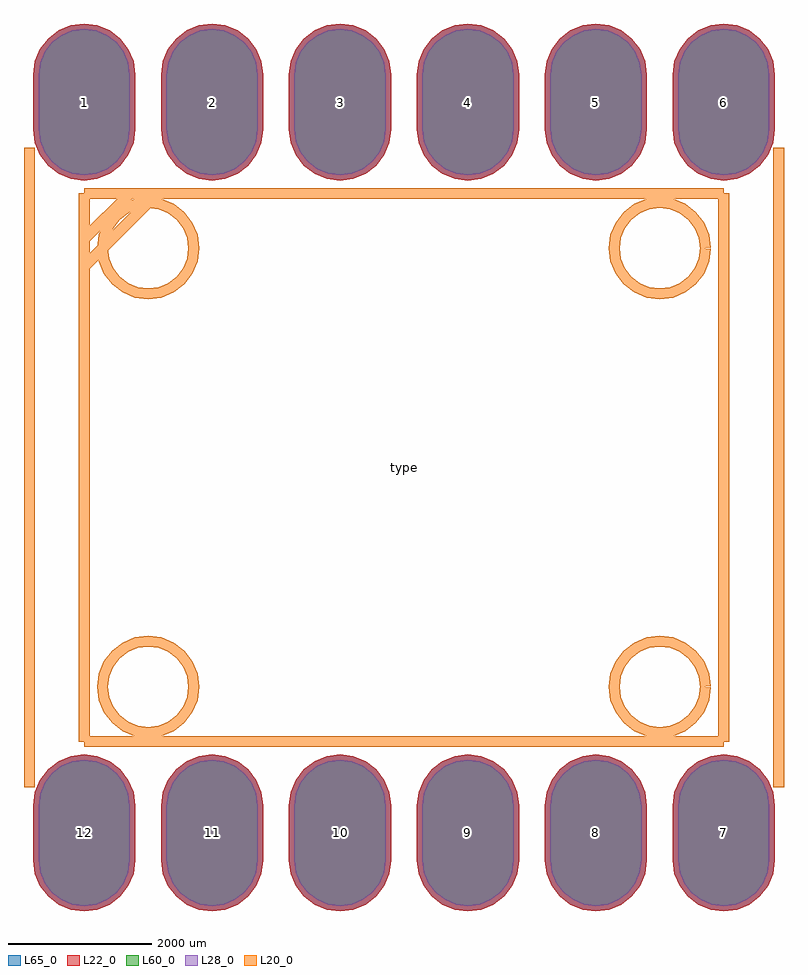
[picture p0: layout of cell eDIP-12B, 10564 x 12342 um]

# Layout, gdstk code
import gdstk
lib = gdstk.Library(unit=1e-6, precision=1e-09)
def P(c, l, *ps):  # polygons
    for p in ps: c.add(gdstk.Polygon(p, *l))
L20_0 = (20, 0)
L22_0 = (22, 0)
L28_0 = (28, 0)
L60_0 = (60, 0)
L65_0 = (65, 0)

edip_12b = lib.new_cell('eDIP-12B')
P(edip_12b, L22_0, [(-4445,-6171),(-4261.238,-6146.807),(-4090,-6075.878),(-3942.954,-5963.046),(-3830.122,-5816),(-3759.193,-5644.762),(-3735,-5461),(-3735,-4699),(-3759.193,-4515.238),(-3830.122,-4344),(-3942.954,-4196.954),(-4090,-4084.122),(-4261.238,-4013.193),(-4445,-3989),(-4628.762,-4013.193),(-4800,-4084.122),(-4947.046,-4196.954),(-5059.878,-4344),(-5130.807,-4515.238),(-5155,-4699),(-5155,-5461),(-5130.807,-5644.762),(-5059.878,-5816),(-4947.046,-5963.046),(-4800,-6075.878),(-4628.762,-6146.807)],
  [(-2667,-6171),(-2483.238,-6146.807),(-2312,-6075.878),(-2164.954,-5963.046),(-2052.122,-5816),(-1981.193,-5644.762),(-1957,-5461),(-1957,-4699),(-1981.193,-4515.238),(-2052.122,-4344),(-2164.954,-4196.954),(-2312,-4084.122),(-2483.238,-4013.193),(-2667,-3989),(-2850.762,-4013.193),(-3022,-4084.122),(-3169.046,-4196.954),(-3281.878,-4344),(-3352.807,-4515.238),(-3377,-4699),(-3377,-5461),(-3352.807,-5644.762),(-3281.878,-5816),(-3169.046,-5963.046),(-3022,-6075.878),(-2850.762,-6146.807)],
  [(-889,-6171),(-705.238,-6146.807),(-534,-6075.878),(-386.954,-5963.046),(-274.122,-5816),(-203.193,-5644.762),(-179,-5461),(-179,-4699),(-203.193,-4515.238),(-274.122,-4344),(-386.954,-4196.954),(-534,-4084.122),(-705.238,-4013.193),(-889,-3989),(-1072.762,-4013.193),(-1244,-4084.122),(-1391.046,-4196.954),(-1503.878,-4344),(-1574.807,-4515.238),(-1599,-4699),(-1599,-5461),(-1574.807,-5644.762),(-1503.878,-5816),(-1391.046,-5963.046),(-1244,-6075.878),(-1072.762,-6146.807)],
  [(889,-6171),(1072.762,-6146.807),(1244,-6075.878),(1391.046,-5963.046),(1503.878,-5816),(1574.807,-5644.762),(1599,-5461),(1599,-4699),(1574.807,-4515.238),(1503.878,-4344),(1391.046,-4196.954),(1244,-4084.122),(1072.762,-4013.193),(889,-3989),(705.238,-4013.193),(534,-4084.122),(386.954,-4196.954),(274.122,-4344),(203.193,-4515.238),(179,-4699),(179,-5461),(203.193,-5644.762),(274.122,-5816),(386.954,-5963.046),(534,-6075.878),(705.238,-6146.807)],
  [(2667,-6171),(2850.762,-6146.807),(3022,-6075.878),(3169.046,-5963.046),(3281.878,-5816),(3352.807,-5644.762),(3377,-5461),(3377,-4699),(3352.807,-4515.238),(3281.878,-4344),(3169.046,-4196.954),(3022,-4084.122),(2850.762,-4013.193),(2667,-3989),(2483.238,-4013.193),(2312,-4084.122),(2164.954,-4196.954),(2052.122,-4344),(1981.193,-4515.238),(1957,-4699),(1957,-5461),(1981.193,-5644.762),(2052.122,-5816),(2164.954,-5963.046),(2312,-6075.878),(2483.238,-6146.807)],
  [(4445,-6171),(4628.762,-6146.807),(4800,-6075.878),(4947.046,-5963.046),(5059.878,-5816),(5130.807,-5644.762),(5155,-5461),(5155,-4699),(5130.807,-4515.238),(5059.878,-4344),(4947.046,-4196.954),(4800,-4084.122),(4628.762,-4013.193),(4445,-3989),(4261.238,-4013.193),(4090,-4084.122),(3942.954,-4196.954),(3830.122,-4344),(3759.193,-4515.238),(3735,-4699),(3735,-5461),(3759.193,-5644.762),(3830.122,-5816),(3942.954,-5963.046),(4090,-6075.878),(4261.238,-6146.807)],
  [(4445,3989),(4628.762,4013.193),(4800,4084.122),(4947.046,4196.954),(5059.878,4344),(5130.807,4515.238),(5155,4699),(5155,5461),(5130.807,5644.762),(5059.878,5816),(4947.046,5963.046),(4800,6075.878),(4628.762,6146.807),(4445,6171),(4261.238,6146.807),(4090,6075.878),(3942.954,5963.046),(3830.122,5816),(3759.193,5644.762),(3735,5461),(3735,4699),(3759.193,4515.238),(3830.122,4344),(3942.954,4196.954),(4090,4084.122),(4261.238,4013.193)],
  [(2667,3989),(2850.762,4013.193),(3022,4084.122),(3169.046,4196.954),(3281.878,4344),(3352.807,4515.238),(3377,4699),(3377,5461),(3352.807,5644.762),(3281.878,5816),(3169.046,5963.046),(3022,6075.878),(2850.762,6146.807),(2667,6171),(2483.238,6146.807),(2312,6075.878),(2164.954,5963.046),(2052.122,5816),(1981.193,5644.762),(1957,5461),(1957,4699),(1981.193,4515.238),(2052.122,4344),(2164.954,4196.954),(2312,4084.122),(2483.238,4013.193)],
  [(889,3989),(1072.762,4013.193),(1244,4084.122),(1391.046,4196.954),(1503.878,4344),(1574.807,4515.238),(1599,4699),(1599,5461),(1574.807,5644.762),(1503.878,5816),(1391.046,5963.046),(1244,6075.878),(1072.762,6146.807),(889,6171),(705.238,6146.807),(534,6075.878),(386.954,5963.046),(274.122,5816),(203.193,5644.762),(179,5461),(179,4699),(203.193,4515.238),(274.122,4344),(386.954,4196.954),(534,4084.122),(705.238,4013.193)],
  [(-889,3989),(-705.238,4013.193),(-534,4084.122),(-386.954,4196.954),(-274.122,4344),(-203.193,4515.238),(-179,4699),(-179,5461),(-203.193,5644.762),(-274.122,5816),(-386.954,5963.046),(-534,6075.878),(-705.238,6146.807),(-889,6171),(-1072.762,6146.807),(-1244,6075.878),(-1391.046,5963.046),(-1503.878,5816),(-1574.807,5644.762),(-1599,5461),(-1599,4699),(-1574.807,4515.238),(-1503.878,4344),(-1391.046,4196.954),(-1244,4084.122),(-1072.762,4013.193)],
  [(-2667,3989),(-2483.238,4013.193),(-2312,4084.122),(-2164.954,4196.954),(-2052.122,4344),(-1981.193,4515.238),(-1957,4699),(-1957,5461),(-1981.193,5644.762),(-2052.122,5816),(-2164.954,5963.046),(-2312,6075.878),(-2483.238,6146.807),(-2667,6171),(-2850.762,6146.807),(-3022,6075.878),(-3169.046,5963.046),(-3281.878,5816),(-3352.807,5644.762),(-3377,5461),(-3377,4699),(-3352.807,4515.238),(-3281.878,4344),(-3169.046,4196.954),(-3022,4084.122),(-2850.762,4013.193)],
  [(-4445,3989),(-4261.238,4013.193),(-4090,4084.122),(-3942.954,4196.954),(-3830.122,4344),(-3759.193,4515.238),(-3735,4699),(-3735,5461),(-3759.193,5644.762),(-3830.122,5816),(-3942.954,5963.046),(-4090,6075.878),(-4261.238,6146.807),(-4445,6171),(-4628.762,6146.807),(-4800,6075.878),(-4947.046,5963.046),(-5059.878,5816),(-5130.807,5644.762),(-5155,5461),(-5155,4699),(-5130.807,4515.238),(-5059.878,4344),(-4947.046,4196.954),(-4800,4084.122),(-4628.762,4013.193)])
P(edip_12b, L28_0, [(-4445,-6096),(-4280.65,-6074.363),(-4127.5,-6010.926),(-3995.987,-5910.013),(-3895.074,-5778.5),(-3831.637,-5625.35),(-3810,-5461),(-3810,-4699),(-3831.637,-4534.65),(-3895.074,-4381.5),(-3995.987,-4249.987),(-4127.5,-4149.074),(-4280.65,-4085.637),(-4445,-4064),(-4609.35,-4085.637),(-4762.5,-4149.074),(-4894.013,-4249.987),(-4994.926,-4381.5),(-5058.363,-4534.65),(-5080,-4699),(-5080,-5461),(-5058.363,-5625.35),(-4994.926,-5778.5),(-4894.013,-5910.013),(-4762.5,-6010.926),(-4609.35,-6074.363)],
  [(-2667,-6096),(-2502.65,-6074.363),(-2349.5,-6010.926),(-2217.987,-5910.013),(-2117.074,-5778.5),(-2053.637,-5625.35),(-2032,-5461),(-2032,-4699),(-2053.637,-4534.65),(-2117.074,-4381.5),(-2217.987,-4249.987),(-2349.5,-4149.074),(-2502.65,-4085.637),(-2667,-4064),(-2831.35,-4085.637),(-2984.5,-4149.074),(-3116.013,-4249.987),(-3216.926,-4381.5),(-3280.363,-4534.65),(-3302,-4699),(-3302,-5461),(-3280.363,-5625.35),(-3216.926,-5778.5),(-3116.013,-5910.013),(-2984.5,-6010.926),(-2831.35,-6074.363)],
  [(-889,-6096),(-724.65,-6074.363),(-571.5,-6010.926),(-439.987,-5910.013),(-339.074,-5778.5),(-275.637,-5625.35),(-254,-5461),(-254,-4699),(-275.637,-4534.65),(-339.074,-4381.5),(-439.987,-4249.987),(-571.5,-4149.074),(-724.65,-4085.637),(-889,-4064),(-1053.35,-4085.637),(-1206.5,-4149.074),(-1338.013,-4249.987),(-1438.926,-4381.5),(-1502.363,-4534.65),(-1524,-4699),(-1524,-5461),(-1502.363,-5625.35),(-1438.926,-5778.5),(-1338.013,-5910.013),(-1206.5,-6010.926),(-1053.35,-6074.363)],
  [(889,-6096),(1053.35,-6074.363),(1206.5,-6010.926),(1338.013,-5910.013),(1438.926,-5778.5),(1502.363,-5625.35),(1524,-5461),(1524,-4699),(1502.363,-4534.65),(1438.926,-4381.5),(1338.013,-4249.987),(1206.5,-4149.074),(1053.35,-4085.637),(889,-4064),(724.65,-4085.637),(571.5,-4149.074),(439.987,-4249.987),(339.074,-4381.5),(275.637,-4534.65),(254,-4699),(254,-5461),(275.637,-5625.35),(339.074,-5778.5),(439.987,-5910.013),(571.5,-6010.926),(724.65,-6074.363)],
  [(2667,-6096),(2831.35,-6074.363),(2984.5,-6010.926),(3116.013,-5910.013),(3216.926,-5778.5),(3280.363,-5625.35),(3302,-5461),(3302,-4699),(3280.363,-4534.65),(3216.926,-4381.5),(3116.013,-4249.987),(2984.5,-4149.074),(2831.35,-4085.637),(2667,-4064),(2502.65,-4085.637),(2349.5,-4149.074),(2217.987,-4249.987),(2117.074,-4381.5),(2053.637,-4534.65),(2032,-4699),(2032,-5461),(2053.637,-5625.35),(2117.074,-5778.5),(2217.987,-5910.013),(2349.5,-6010.926),(2502.65,-6074.363)],
  [(4445,-6096),(4609.35,-6074.363),(4762.5,-6010.926),(4894.013,-5910.013),(4994.926,-5778.5),(5058.363,-5625.35),(5080,-5461),(5080,-4699),(5058.363,-4534.65),(4994.926,-4381.5),(4894.013,-4249.987),(4762.5,-4149.074),(4609.35,-4085.637),(4445,-4064),(4280.65,-4085.637),(4127.5,-4149.074),(3995.987,-4249.987),(3895.074,-4381.5),(3831.637,-4534.65),(3810,-4699),(3810,-5461),(3831.637,-5625.35),(3895.074,-5778.5),(3995.987,-5910.013),(4127.5,-6010.926),(4280.65,-6074.363)],
  [(4445,4064),(4609.35,4085.637),(4762.5,4149.074),(4894.013,4249.987),(4994.926,4381.5),(5058.363,4534.65),(5080,4699),(5080,5461),(5058.363,5625.35),(4994.926,5778.5),(4894.013,5910.013),(4762.5,6010.926),(4609.35,6074.363),(4445,6096),(4280.65,6074.363),(4127.5,6010.926),(3995.987,5910.013),(3895.074,5778.5),(3831.637,5625.35),(3810,5461),(3810,4699),(3831.637,4534.65),(3895.074,4381.5),(3995.987,4249.987),(4127.5,4149.074),(4280.65,4085.637)],
  [(2667,4064),(2831.35,4085.637),(2984.5,4149.074),(3116.013,4249.987),(3216.926,4381.5),(3280.363,4534.65),(3302,4699),(3302,5461),(3280.363,5625.35),(3216.926,5778.5),(3116.013,5910.013),(2984.5,6010.926),(2831.35,6074.363),(2667,6096),(2502.65,6074.363),(2349.5,6010.926),(2217.987,5910.013),(2117.074,5778.5),(2053.637,5625.35),(2032,5461),(2032,4699),(2053.637,4534.65),(2117.074,4381.5),(2217.987,4249.987),(2349.5,4149.074),(2502.65,4085.637)],
  [(889,4064),(1053.35,4085.637),(1206.5,4149.074),(1338.013,4249.987),(1438.926,4381.5),(1502.363,4534.65),(1524,4699),(1524,5461),(1502.363,5625.35),(1438.926,5778.5),(1338.013,5910.013),(1206.5,6010.926),(1053.35,6074.363),(889,6096),(724.65,6074.363),(571.5,6010.926),(439.987,5910.013),(339.074,5778.5),(275.637,5625.35),(254,5461),(254,4699),(275.637,4534.65),(339.074,4381.5),(439.987,4249.987),(571.5,4149.074),(724.65,4085.637)],
  [(-889,4064),(-724.65,4085.637),(-571.5,4149.074),(-439.987,4249.987),(-339.074,4381.5),(-275.637,4534.65),(-254,4699),(-254,5461),(-275.637,5625.35),(-339.074,5778.5),(-439.987,5910.013),(-571.5,6010.926),(-724.65,6074.363),(-889,6096),(-1053.35,6074.363),(-1206.5,6010.926),(-1338.013,5910.013),(-1438.926,5778.5),(-1502.363,5625.35),(-1524,5461),(-1524,4699),(-1502.363,4534.65),(-1438.926,4381.5),(-1338.013,4249.987),(-1206.5,4149.074),(-1053.35,4085.637)],
  [(-2667,4064),(-2502.65,4085.637),(-2349.5,4149.074),(-2217.987,4249.987),(-2117.074,4381.5),(-2053.637,4534.65),(-2032,4699),(-2032,5461),(-2053.637,5625.35),(-2117.074,5778.5),(-2217.987,5910.013),(-2349.5,6010.926),(-2502.65,6074.363),(-2667,6096),(-2831.35,6074.363),(-2984.5,6010.926),(-3116.013,5910.013),(-3216.926,5778.5),(-3280.363,5625.35),(-3302,5461),(-3302,4699),(-3280.363,4534.65),(-3216.926,4381.5),(-3116.013,4249.987),(-2984.5,4149.074),(-2831.35,4085.637)],
  [(-4445,4064),(-4280.65,4085.637),(-4127.5,4149.074),(-3995.987,4249.987),(-3895.074,4381.5),(-3831.637,4534.65),(-3810,4699),(-3810,5461),(-3831.637,5625.35),(-3895.074,5778.5),(-3995.987,5910.013),(-4127.5,6010.926),(-4280.65,6074.363),(-4445,6096),(-4609.35,6074.363),(-4762.5,6010.926),(-4894.013,5910.013),(-4994.926,5778.5),(-5058.363,5625.35),(-5080,5461),(-5080,4699),(-5058.363,4534.65),(-4994.926,4381.5),(-4894.013,4249.987),(-4762.5,4149.074),(-4609.35,4085.637)])
P(edip_12b, L60_0, [(-4445,-6096),(-4280.65,-6074.363),(-4127.5,-6010.926),(-3995.987,-5910.013),(-3895.074,-5778.5),(-3831.637,-5625.35),(-3810,-5461),(-3810,-4699),(-3831.637,-4534.65),(-3895.074,-4381.5),(-3995.987,-4249.987),(-4127.5,-4149.074),(-4280.65,-4085.637),(-4445,-4064),(-4609.35,-4085.637),(-4762.5,-4149.074),(-4894.013,-4249.987),(-4994.926,-4381.5),(-5058.363,-4534.65),(-5080,-4699),(-5080,-5461),(-5058.363,-5625.35),(-4994.926,-5778.5),(-4894.013,-5910.013),(-4762.5,-6010.926),(-4609.35,-6074.363)],
  [(-2667,-6096),(-2502.65,-6074.363),(-2349.5,-6010.926),(-2217.987,-5910.013),(-2117.074,-5778.5),(-2053.637,-5625.35),(-2032,-5461),(-2032,-4699),(-2053.637,-4534.65),(-2117.074,-4381.5),(-2217.987,-4249.987),(-2349.5,-4149.074),(-2502.65,-4085.637),(-2667,-4064),(-2831.35,-4085.637),(-2984.5,-4149.074),(-3116.013,-4249.987),(-3216.926,-4381.5),(-3280.363,-4534.65),(-3302,-4699),(-3302,-5461),(-3280.363,-5625.35),(-3216.926,-5778.5),(-3116.013,-5910.013),(-2984.5,-6010.926),(-2831.35,-6074.363)],
  [(-889,-6096),(-724.65,-6074.363),(-571.5,-6010.926),(-439.987,-5910.013),(-339.074,-5778.5),(-275.637,-5625.35),(-254,-5461),(-254,-4699),(-275.637,-4534.65),(-339.074,-4381.5),(-439.987,-4249.987),(-571.5,-4149.074),(-724.65,-4085.637),(-889,-4064),(-1053.35,-4085.637),(-1206.5,-4149.074),(-1338.013,-4249.987),(-1438.926,-4381.5),(-1502.363,-4534.65),(-1524,-4699),(-1524,-5461),(-1502.363,-5625.35),(-1438.926,-5778.5),(-1338.013,-5910.013),(-1206.5,-6010.926),(-1053.35,-6074.363)],
  [(889,-6096),(1053.35,-6074.363),(1206.5,-6010.926),(1338.013,-5910.013),(1438.926,-5778.5),(1502.363,-5625.35),(1524,-5461),(1524,-4699),(1502.363,-4534.65),(1438.926,-4381.5),(1338.013,-4249.987),(1206.5,-4149.074),(1053.35,-4085.637),(889,-4064),(724.65,-4085.637),(571.5,-4149.074),(439.987,-4249.987),(339.074,-4381.5),(275.637,-4534.65),(254,-4699),(254,-5461),(275.637,-5625.35),(339.074,-5778.5),(439.987,-5910.013),(571.5,-6010.926),(724.65,-6074.363)],
  [(2667,-6096),(2831.35,-6074.363),(2984.5,-6010.926),(3116.013,-5910.013),(3216.926,-5778.5),(3280.363,-5625.35),(3302,-5461),(3302,-4699),(3280.363,-4534.65),(3216.926,-4381.5),(3116.013,-4249.987),(2984.5,-4149.074),(2831.35,-4085.637),(2667,-4064),(2502.65,-4085.637),(2349.5,-4149.074),(2217.987,-4249.987),(2117.074,-4381.5),(2053.637,-4534.65),(2032,-4699),(2032,-5461),(2053.637,-5625.35),(2117.074,-5778.5),(2217.987,-5910.013),(2349.5,-6010.926),(2502.65,-6074.363)],
  [(4445,-6096),(4609.35,-6074.363),(4762.5,-6010.926),(4894.013,-5910.013),(4994.926,-5778.5),(5058.363,-5625.35),(5080,-5461),(5080,-4699),(5058.363,-4534.65),(4994.926,-4381.5),(4894.013,-4249.987),(4762.5,-4149.074),(4609.35,-4085.637),(4445,-4064),(4280.65,-4085.637),(4127.5,-4149.074),(3995.987,-4249.987),(3895.074,-4381.5),(3831.637,-4534.65),(3810,-4699),(3810,-5461),(3831.637,-5625.35),(3895.074,-5778.5),(3995.987,-5910.013),(4127.5,-6010.926),(4280.65,-6074.363)],
  [(4445,4064),(4609.35,4085.637),(4762.5,4149.074),(4894.013,4249.987),(4994.926,4381.5),(5058.363,4534.65),(5080,4699),(5080,5461),(5058.363,5625.35),(4994.926,5778.5),(4894.013,5910.013),(4762.5,6010.926),(4609.35,6074.363),(4445,6096),(4280.65,6074.363),(4127.5,6010.926),(3995.987,5910.013),(3895.074,5778.5),(3831.637,5625.35),(3810,5461),(3810,4699),(3831.637,4534.65),(3895.074,4381.5),(3995.987,4249.987),(4127.5,4149.074),(4280.65,4085.637)],
  [(2667,4064),(2831.35,4085.637),(2984.5,4149.074),(3116.013,4249.987),(3216.926,4381.5),(3280.363,4534.65),(3302,4699),(3302,5461),(3280.363,5625.35),(3216.926,5778.5),(3116.013,5910.013),(2984.5,6010.926),(2831.35,6074.363),(2667,6096),(2502.65,6074.363),(2349.5,6010.926),(2217.987,5910.013),(2117.074,5778.5),(2053.637,5625.35),(2032,5461),(2032,4699),(2053.637,4534.65),(2117.074,4381.5),(2217.987,4249.987),(2349.5,4149.074),(2502.65,4085.637)],
  [(889,4064),(1053.35,4085.637),(1206.5,4149.074),(1338.013,4249.987),(1438.926,4381.5),(1502.363,4534.65),(1524,4699),(1524,5461),(1502.363,5625.35),(1438.926,5778.5),(1338.013,5910.013),(1206.5,6010.926),(1053.35,6074.363),(889,6096),(724.65,6074.363),(571.5,6010.926),(439.987,5910.013),(339.074,5778.5),(275.637,5625.35),(254,5461),(254,4699),(275.637,4534.65),(339.074,4381.5),(439.987,4249.987),(571.5,4149.074),(724.65,4085.637)],
  [(-889,4064),(-724.65,4085.637),(-571.5,4149.074),(-439.987,4249.987),(-339.074,4381.5),(-275.637,4534.65),(-254,4699),(-254,5461),(-275.637,5625.35),(-339.074,5778.5),(-439.987,5910.013),(-571.5,6010.926),(-724.65,6074.363),(-889,6096),(-1053.35,6074.363),(-1206.5,6010.926),(-1338.013,5910.013),(-1438.926,5778.5),(-1502.363,5625.35),(-1524,5461),(-1524,4699),(-1502.363,4534.65),(-1438.926,4381.5),(-1338.013,4249.987),(-1206.5,4149.074),(-1053.35,4085.637)],
  [(-2667,4064),(-2502.65,4085.637),(-2349.5,4149.074),(-2217.987,4249.987),(-2117.074,4381.5),(-2053.637,4534.65),(-2032,4699),(-2032,5461),(-2053.637,5625.35),(-2117.074,5778.5),(-2217.987,5910.013),(-2349.5,6010.926),(-2502.65,6074.363),(-2667,6096),(-2831.35,6074.363),(-2984.5,6010.926),(-3116.013,5910.013),(-3216.926,5778.5),(-3280.363,5625.35),(-3302,5461),(-3302,4699),(-3280.363,4534.65),(-3216.926,4381.5),(-3116.013,4249.987),(-2984.5,4149.074),(-2831.35,4085.637)],
  [(-4445,4064),(-4280.65,4085.637),(-4127.5,4149.074),(-3995.987,4249.987),(-3895.074,4381.5),(-3831.637,4534.65),(-3810,4699),(-3810,5461),(-3831.637,5625.35),(-3895.074,5778.5),(-3995.987,5910.013),(-4127.5,6010.926),(-4280.65,6074.363),(-4445,6096),(-4609.35,6074.363),(-4762.5,6010.926),(-4894.013,5910.013),(-4994.926,5778.5),(-5058.363,5625.35),(-5080,5461),(-5080,4699),(-5058.363,4534.65),(-4994.926,4381.5),(-4894.013,4249.987),(-4762.5,4149.074),(-4609.35,4085.637)])
P(edip_12b, L65_0, [(-4445,-6171),(-4261.238,-6146.807),(-4090,-6075.878),(-3942.954,-5963.046),(-3830.122,-5816),(-3759.193,-5644.762),(-3735,-5461),(-3735,-4699),(-3759.193,-4515.238),(-3830.122,-4344),(-3942.954,-4196.954),(-4090,-4084.122),(-4261.238,-4013.193),(-4445,-3989),(-4628.762,-4013.193),(-4800,-4084.122),(-4947.046,-4196.954),(-5059.878,-4344),(-5130.807,-4515.238),(-5155,-4699),(-5155,-5461),(-5130.807,-5644.762),(-5059.878,-5816),(-4947.046,-5963.046),(-4800,-6075.878),(-4628.762,-6146.807)],
  [(-2667,-6171),(-2483.238,-6146.807),(-2312,-6075.878),(-2164.954,-5963.046),(-2052.122,-5816),(-1981.193,-5644.762),(-1957,-5461),(-1957,-4699),(-1981.193,-4515.238),(-2052.122,-4344),(-2164.954,-4196.954),(-2312,-4084.122),(-2483.238,-4013.193),(-2667,-3989),(-2850.762,-4013.193),(-3022,-4084.122),(-3169.046,-4196.954),(-3281.878,-4344),(-3352.807,-4515.238),(-3377,-4699),(-3377,-5461),(-3352.807,-5644.762),(-3281.878,-5816),(-3169.046,-5963.046),(-3022,-6075.878),(-2850.762,-6146.807)],
  [(-889,-6171),(-705.238,-6146.807),(-534,-6075.878),(-386.954,-5963.046),(-274.122,-5816),(-203.193,-5644.762),(-179,-5461),(-179,-4699),(-203.193,-4515.238),(-274.122,-4344),(-386.954,-4196.954),(-534,-4084.122),(-705.238,-4013.193),(-889,-3989),(-1072.762,-4013.193),(-1244,-4084.122),(-1391.046,-4196.954),(-1503.878,-4344),(-1574.807,-4515.238),(-1599,-4699),(-1599,-5461),(-1574.807,-5644.762),(-1503.878,-5816),(-1391.046,-5963.046),(-1244,-6075.878),(-1072.762,-6146.807)],
  [(889,-6171),(1072.762,-6146.807),(1244,-6075.878),(1391.046,-5963.046),(1503.878,-5816),(1574.807,-5644.762),(1599,-5461),(1599,-4699),(1574.807,-4515.238),(1503.878,-4344),(1391.046,-4196.954),(1244,-4084.122),(1072.762,-4013.193),(889,-3989),(705.238,-4013.193),(534,-4084.122),(386.954,-4196.954),(274.122,-4344),(203.193,-4515.238),(179,-4699),(179,-5461),(203.193,-5644.762),(274.122,-5816),(386.954,-5963.046),(534,-6075.878),(705.238,-6146.807)],
  [(2667,-6171),(2850.762,-6146.807),(3022,-6075.878),(3169.046,-5963.046),(3281.878,-5816),(3352.807,-5644.762),(3377,-5461),(3377,-4699),(3352.807,-4515.238),(3281.878,-4344),(3169.046,-4196.954),(3022,-4084.122),(2850.762,-4013.193),(2667,-3989),(2483.238,-4013.193),(2312,-4084.122),(2164.954,-4196.954),(2052.122,-4344),(1981.193,-4515.238),(1957,-4699),(1957,-5461),(1981.193,-5644.762),(2052.122,-5816),(2164.954,-5963.046),(2312,-6075.878),(2483.238,-6146.807)],
  [(4445,-6171),(4628.762,-6146.807),(4800,-6075.878),(4947.046,-5963.046),(5059.878,-5816),(5130.807,-5644.762),(5155,-5461),(5155,-4699),(5130.807,-4515.238),(5059.878,-4344),(4947.046,-4196.954),(4800,-4084.122),(4628.762,-4013.193),(4445,-3989),(4261.238,-4013.193),(4090,-4084.122),(3942.954,-4196.954),(3830.122,-4344),(3759.193,-4515.238),(3735,-4699),(3735,-5461),(3759.193,-5644.762),(3830.122,-5816),(3942.954,-5963.046),(4090,-6075.878),(4261.238,-6146.807)],
  [(4445,3989),(4628.762,4013.193),(4800,4084.122),(4947.046,4196.954),(5059.878,4344),(5130.807,4515.238),(5155,4699),(5155,5461),(5130.807,5644.762),(5059.878,5816),(4947.046,5963.046),(4800,6075.878),(4628.762,6146.807),(4445,6171),(4261.238,6146.807),(4090,6075.878),(3942.954,5963.046),(3830.122,5816),(3759.193,5644.762),(3735,5461),(3735,4699),(3759.193,4515.238),(3830.122,4344),(3942.954,4196.954),(4090,4084.122),(4261.238,4013.193)],
  [(2667,3989),(2850.762,4013.193),(3022,4084.122),(3169.046,4196.954),(3281.878,4344),(3352.807,4515.238),(3377,4699),(3377,5461),(3352.807,5644.762),(3281.878,5816),(3169.046,5963.046),(3022,6075.878),(2850.762,6146.807),(2667,6171),(2483.238,6146.807),(2312,6075.878),(2164.954,5963.046),(2052.122,5816),(1981.193,5644.762),(1957,5461),(1957,4699),(1981.193,4515.238),(2052.122,4344),(2164.954,4196.954),(2312,4084.122),(2483.238,4013.193)],
  [(889,3989),(1072.762,4013.193),(1244,4084.122),(1391.046,4196.954),(1503.878,4344),(1574.807,4515.238),(1599,4699),(1599,5461),(1574.807,5644.762),(1503.878,5816),(1391.046,5963.046),(1244,6075.878),(1072.762,6146.807),(889,6171),(705.238,6146.807),(534,6075.878),(386.954,5963.046),(274.122,5816),(203.193,5644.762),(179,5461),(179,4699),(203.193,4515.238),(274.122,4344),(386.954,4196.954),(534,4084.122),(705.238,4013.193)],
  [(-889,3989),(-705.238,4013.193),(-534,4084.122),(-386.954,4196.954),(-274.122,4344),(-203.193,4515.238),(-179,4699),(-179,5461),(-203.193,5644.762),(-274.122,5816),(-386.954,5963.046),(-534,6075.878),(-705.238,6146.807),(-889,6171),(-1072.762,6146.807),(-1244,6075.878),(-1391.046,5963.046),(-1503.878,5816),(-1574.807,5644.762),(-1599,5461),(-1599,4699),(-1574.807,4515.238),(-1503.878,4344),(-1391.046,4196.954),(-1244,4084.122),(-1072.762,4013.193)],
  [(-2667,3989),(-2483.238,4013.193),(-2312,4084.122),(-2164.954,4196.954),(-2052.122,4344),(-1981.193,4515.238),(-1957,4699),(-1957,5461),(-1981.193,5644.762),(-2052.122,5816),(-2164.954,5963.046),(-2312,6075.878),(-2483.238,6146.807),(-2667,6171),(-2850.762,6146.807),(-3022,6075.878),(-3169.046,5963.046),(-3281.878,5816),(-3352.807,5644.762),(-3377,5461),(-3377,4699),(-3352.807,4515.238),(-3281.878,4344),(-3169.046,4196.954),(-3022,4084.122),(-2850.762,4013.193)],
  [(-4445,3989),(-4261.238,4013.193),(-4090,4084.122),(-3942.954,4196.954),(-3830.122,4344),(-3759.193,4515.238),(-3735,4699),(-3735,5461),(-3759.193,5644.762),(-3830.122,5816),(-3942.954,5963.046),(-4090,6075.878),(-4261.238,6146.807),(-4445,6171),(-4628.762,6146.807),(-4800,6075.878),(-4947.046,5963.046),(-5059.878,5816),(-5130.807,5644.762),(-5155,5461),(-5155,4699),(-5130.807,4515.238),(-5059.878,4344),(-4947.046,4196.954),(-4800,4084.122),(-4628.762,4013.193)])
edip_12b.add(gdstk.FlexPath([(5207,4445),(5207,-4445)], 149.998, ends="flush", simple_path=True, layer=20, datatype=0))  # L20_0
edip_12b.add(gdstk.FlexPath([(-5207,-4445),(-5207,4445)], 149.998, ends="flush", simple_path=True, layer=20, datatype=0))  # L20_0
edip_12b.add(gdstk.FlexPath([(-4445,3810),(-4445,-3810)], 149.998, ends="flush", simple_path=True, layer=20, datatype=0))  # L20_0
edip_12b.add(gdstk.FlexPath([(4445,3810),(-4445,3810)], 149.998, ends="flush", simple_path=True, layer=20, datatype=0))  # L20_0
edip_12b.add(gdstk.FlexPath([(4445,-3810),(4445,3810)], 149.998, ends="flush", simple_path=True, layer=20, datatype=0))  # L20_0
edip_12b.add(gdstk.FlexPath([(-4445,-3810),(4445,-3810)], 149.998, ends="flush", simple_path=True, layer=20, datatype=0))  # L20_0
edip_12b.add(gdstk.FlexPath([(-3810,3810),(-4445,3175)], 149.998, ends="flush", simple_path=True, layer=20, datatype=0))  # L20_0
edip_12b.add(gdstk.FlexPath([(-4445,2794),(-3429,3810)], 149.998, ends="flush", simple_path=True, layer=20, datatype=0))  # L20_0
edip_12b.add(gdstk.FlexPath([(4191,3048),(4169.363,3212.35),(4105.926,3365.5),(4005.013,3497.013),(3873.5,3597.926),(3720.35,3661.363),(3556,3683),(3391.65,3661.363),(3238.5,3597.926),(3106.987,3497.013),(3006.074,3365.5),(2942.637,3212.35),(2921,3048),(2942.637,2883.65),(3006.074,2730.5),(3106.987,2598.987),(3238.5,2498.074),(3391.65,2434.637),(3556,2413),(3720.35,2434.637),(3873.5,2498.074),(4005.013,2598.987),(4105.926,2730.5),(4169.363,2883.65),(4191,3048)], 149.998, ends="flush", simple_path=True, layer=20, datatype=0))  # L20_0
edip_12b.add(gdstk.FlexPath([(4191,-3048),(4169.363,-2883.65),(4105.926,-2730.5),(4005.013,-2598.987),(3873.5,-2498.074),(3720.35,-2434.637),(3556,-2413),(3391.65,-2434.637),(3238.5,-2498.074),(3106.987,-2598.987),(3006.074,-2730.5),(2942.637,-2883.65),(2921,-3048),(2942.637,-3212.35),(3006.074,-3365.5),(3106.987,-3497.013),(3238.5,-3597.926),(3391.65,-3661.363),(3556,-3683),(3720.35,-3661.363),(3873.5,-3597.926),(4005.013,-3497.013),(4105.926,-3365.5),(4169.363,-3212.35),(4191,-3048)], 149.998, ends="flush", simple_path=True, layer=20, datatype=0))  # L20_0
edip_12b.add(gdstk.FlexPath([(-3556,-3683),(-3391.65,-3661.363),(-3238.5,-3597.926),(-3106.987,-3497.013),(-3006.074,-3365.5),(-2942.637,-3212.35),(-2921,-3048),(-2942.637,-2883.65),(-3006.074,-2730.5),(-3106.987,-2598.987),(-3238.5,-2498.074),(-3391.65,-2434.637),(-3556,-2413),(-3720.35,-2434.637),(-3873.5,-2498.074),(-4005.013,-2598.987),(-4105.926,-2730.5),(-4169.363,-2883.65),(-4191,-3048),(-4169.363,-3212.35),(-4105.926,-3365.5),(-4005.013,-3497.013),(-3873.5,-3597.926),(-3720.35,-3661.363),(-3556,-3683)], 149.998, ends="flush", simple_path=True, layer=20, datatype=0))  # L20_0
edip_12b.add(gdstk.FlexPath([(-3556,3683),(-3720.35,3661.363),(-3873.5,3597.926),(-4005.013,3497.013),(-4105.926,3365.5),(-4169.363,3212.35),(-4191,3048),(-4169.363,2883.65),(-4105.926,2730.5),(-4005.013,2598.987),(-3873.5,2498.074),(-3720.35,2434.637),(-3556,2413),(-3391.65,2434.637),(-3238.5,2498.074),(-3106.987,2598.987),(-3006.074,2730.5),(-2942.637,2883.65),(-2921,3048),(-2942.637,3212.35),(-3006.074,3365.5),(-3106.987,3497.013),(-3238.5,3597.926),(-3391.65,3661.363),(-3556,3683)], 149.998, ends="flush", simple_path=True, layer=20, datatype=0))  # L20_0
edip_12b.add(gdstk.Label('12', (-4445,-5080), layer=28, texttype=0))
edip_12b.add(gdstk.Label('11', (-2667,-5080), layer=28, texttype=0))
edip_12b.add(gdstk.Label('10', (-889,-5080), layer=28, texttype=0))
edip_12b.add(gdstk.Label('9', (889,-5080), layer=28, texttype=0))
edip_12b.add(gdstk.Label('8', (2667,-5080), layer=28, texttype=0))
edip_12b.add(gdstk.Label('7', (4445,-5080), layer=28, texttype=0))
edip_12b.add(gdstk.Label('6', (4445,5080), layer=28, texttype=0))
edip_12b.add(gdstk.Label('5', (2667,5080), layer=28, texttype=0))
edip_12b.add(gdstk.Label('4', (889,5080), layer=28, texttype=0))
edip_12b.add(gdstk.Label('3', (-889,5080), layer=28, texttype=0))
edip_12b.add(gdstk.Label('2', (-2667,5080), layer=28, texttype=0))
edip_12b.add(gdstk.Label('1', (-4445,5080), layer=28, texttype=0))
edip_12b.add(gdstk.Label('type', (0,0), layer=9, texttype=0))
edip_12b.add(gdstk.Label('devicename', (0,0), layer=9, texttype=0))

lib.write_gds('eDIP-12B.gds')
